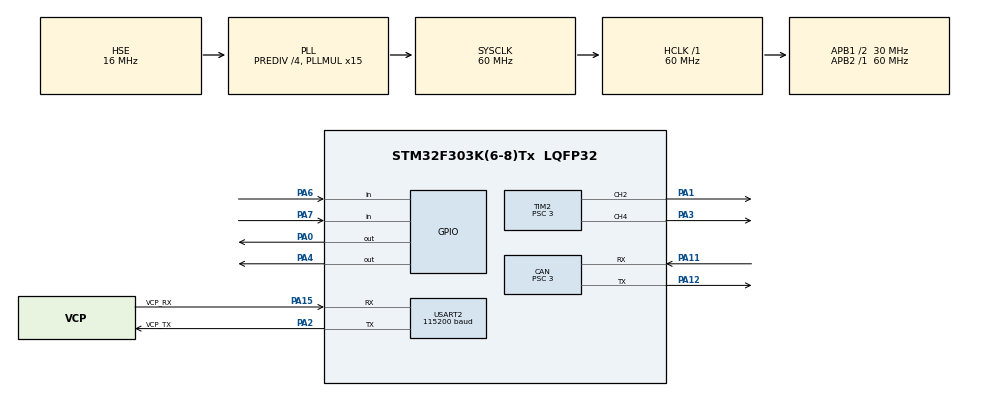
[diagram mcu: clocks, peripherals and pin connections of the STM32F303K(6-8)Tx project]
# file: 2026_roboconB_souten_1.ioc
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CAN.BS1=CAN_BS1_7TQ
CAN.BS2=CAN_BS2_2TQ
CAN.CalculateBaudRate=1000000
CAN.CalculateTimeBit=1000
CAN.CalculateTimeQuantum=100.0
CAN.Prescaler=3
Mcu.Family=STM32F3
Mcu.Name=STM32F303K(6-8)Tx
Mcu.Package=LQFP32
NVIC.CAN_RX0_IRQn=true\:0\:0\:false\:false\:true\:true\:true\:true
NVIC.PriorityGroup=NVIC_PRIORITYGROUP_4
PA0.Signal=GPIO_Output
PA1.Signal=S_TIM2_CH2
PA11.Mode=CAN_Activate
PA11.Signal=CAN_RX
PA12.Mode=CAN_Activate
PA12.Signal=CAN_TX
PA13.GPIO_Label=SWDIO
PA13.Mode=Serial_Wire
PA13.Signal=SYS_JTMS-SWDIO
PA14.GPIO_Label=SWCLK
PA14.Mode=Serial_Wire
PA14.Signal=SYS_JTCK-SWCLK
PA15.GPIO_Label=VCP_RX
PA15.Mode=Asynchronous
PA15.Signal=USART2_RX
PA2.GPIO_Label=VCP_TX
PA2.Mode=Asynchronous
PA2.Signal=USART2_TX
PA3.Signal=S_TIM2_CH4
PA4.Signal=GPIO_Output
PA6.GPIO_PuPd=GPIO_PULLUP
PA6.Signal=GPIO_Input
PA7.GPIO_PuPd=GPIO_PULLUP
PA7.Signal=GPIO_Input
PF0\ /\ OSC_IN.GPIO_Label=MCO
PF0\ /\ OSC_IN.Mode=HSE-External-Oscillator
PF0\ /\ OSC_IN.Signal=RCC_OSC_IN
PF1\ /\ OSC_OUT.Mode=HSE-External-Oscillator
PF1\ /\ OSC_OUT.Signal=RCC_OSC_OUT
ProjectManager.HeapSize=0x200
ProjectManager.StackSize=0x400
ProjectManager.TargetToolchain=Makefile
RCC.AHBFreq_Value=60000000
RCC.APB1CLKDivider=RCC_HCLK_DIV2
RCC.APB1Freq_Value=30000000
RCC.APB1TimFreq_Value=60000000
RCC.APB2Freq_Value=60000000
RCC.APB2TimFreq_Value=60000000
RCC.CortexFreq_Value=60000000
RCC.HCLKFreq_Value=60000000
RCC.HSE_VALUE=16000000
RCC.HSI_VALUE=8000000
RCC.PLLMUL=RCC_PLL_MUL15
RCC.PLLSourceVirtual=RCC_PLLSOURCE_HSE
RCC.RCC_PLLsource_Clock_Source_FROM_HSE=RCC_HSE_PREDIV_DIV4
RCC.SYSCLKFreq_VALUE=60000000
RCC.SYSCLKSourceVirtual=RCC_SYSCLKSOURCE_PLLCLK
SH.S_TIM2_CH2.0=TIM2_CH2,PWM Generation2 CH2
SH.S_TIM2_CH4.0=TIM2_CH4,PWM Generation4 CH4
TIM2.AutoReloadPreload=TIM_AUTORELOAD_PRELOAD_ENABLE
TIM2.Channel-PWM\ Generation2\ CH2=TIM_CHANNEL_2
TIM2.Channel-PWM\ Generation4\ CH4=TIM_CHANNEL_4
TIM2.Period=2999
TIM2.Prescaler=3
USART2.BaudRate=115200
USART2.VirtualMode-Asynchronous=VM_ASYNC
VP_TIM2_VS_ClockSourceINT.Mode=Internal
board=NUCLEO-F303K8

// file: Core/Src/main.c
/* USER CODE BEGIN Header */
/**
 ******************************************************************************
 * @file           : main.c
 * @brief          : Main program body
 ******************************************************************************
 * @attention
 *
 * Copyright (c) 2026 STMicroelectronics.
 * All rights reserved.
 *
 * This software is licensed under terms that can be found in the LICENSE file
 * in the root directory of this software component.
 * If no LICENSE file comes with this software, it is provided AS-IS.
 *
 ******************************************************************************
 */
/* USER CODE END Header */
#include "main.h"

/* USER CODE BEGIN Includes */
#include <stdio.h>
#include <stdlib.h>
#include <math.h>
#include <string.h>
/* USER CODE END Includes */

CAN_HandleTypeDef hcan;

TIM_HandleTypeDef htim2;

UART_HandleTypeDef huart2;

void SystemClock_Config(void);
static void MX_GPIO_Init(void);
static void MX_CAN_Init(void);
static void MX_USART2_UART_Init(void);
static void MX_TIM2_Init(void);

/* USER CODE BEGIN 0 */
typedef enum
{
  SOUTEN_IDLE,
  SOUTEN,
  HOMING,
  SOUTEN_READY
} SoutenState;

volatile SoutenState souten_state = SOUTEN_IDLE;

typedef struct
{
  uint8_t data[8];
} CanFrame;

volatile uint32_t id;
// volatile uint8_t use_data[8];
volatile uint8_t can_buf[8];
volatile uint8_t can_updated = 0;
void HAL_CAN_RxFifo0MsgPendingCallback(CAN_HandleTypeDef *hcan)
{
  CAN_RxHeaderTypeDef RxHeader; // 受信メッセージの情報が格納されるインスタンス
  uint8_t RxData[8];            // 受信したデータを一時保存する配列
  if (HAL_CAN_GetRxMessage(hcan, CAN_RX_FIFO0, &RxHeader, RxData) == HAL_OK)
  {
    id = RxHeader.StdId; // RxHeaderの中に入っているidを取り出す
    if (id == 0x107)
    {
      for (int i = 0; i <= 7; i++)
      {
        can_buf[i] = RxData[i];
      }
      can_updated = 1;
    }
  }
}

volatile uint8_t control_flag = 0;

int _write(int file, char *ptr, int len)
{
  HAL_UART_Transmit(&huart2, (uint8_t *)ptr, len, 10);
  return len;
}
/* USER CODE END 0 */

int main(void)
{

  /* USER CODE BEGIN 1 */
  setbuf(stdout, NULL);
  /* USER CODE END 1 */

  /* MCU Configuration--------------------------------------------------------*/

  /* Reset of all peripherals, Initializes the Flash interface and the Systick. */
  HAL_Init();

  /* Configure the system clock */
  SystemClock_Config();

  /* Initialize all configured peripherals */
  MX_GPIO_Init();
  MX_CAN_Init();
  MX_USART2_UART_Init();
  MX_TIM2_Init();
  /* USER CODE BEGIN 2 */
  // CANスタート
  HAL_CAN_Start(&hcan);
  // 割り込み有効
  HAL_CAN_ActivateNotification(&hcan, CAN_IT_RX_FIFO0_MSG_PENDING);

  HAL_TIM_PWM_Start(&htim2, TIM_CHANNEL_2);
  HAL_TIM_PWM_Start(&htim2, TIM_CHANNEL_4);

  uint32_t motor_start_time = 0;
  uint32_t switch_on = 0;
  uint8_t motor_running = 0;

  __HAL_TIM_SET_COMPARE(&htim2, TIM_CHANNEL_2, 0);
  __HAL_TIM_SET_COMPARE(&htim2, TIM_CHANNEL_4, 0);
  /* USER CODE END 2 */

  /* Infinite loop */
  while (1)
  {

    /* USER CODE BEGIN 3 */
    uint8_t local_buf[8];

    if (can_updated)
    {
      __disable_irq();
      memcpy(local_buf, (const void *)can_buf, 8);
      can_updated = 0;
      __enable_irq();

      if (local_buf[0] == 1)
      {
        // 装填開始
        souten_state = SOUTEN;
      }
      else if (local_buf[0] == 0)
      {
        // 停止命令（緊急停止を含む）
        souten_state = SOUTEN_IDLE;
      }
    }

    if (souten_state == SOUTEN)
    {
      // PA7：未押下ならSET、押下ならRESET
      if (HAL_GPIO_ReadPin(GPIOA, GPIO_PIN_7) == GPIO_PIN_SET)
      {
        HAL_GPIO_WritePin(GPIOA, GPIO_PIN_0, GPIO_PIN_SET);
        HAL_GPIO_WritePin(GPIOA, GPIO_PIN_4, GPIO_PIN_SET);
        __HAL_TIM_SET_COMPARE(&htim2, TIM_CHANNEL_2, 2000);
        __HAL_TIM_SET_COMPARE(&htim2, TIM_CHANNEL_4, 2000);
      }
      else
      {
        // リミットスイッチに到達したので停止
        __HAL_TIM_SET_COMPARE(&htim2, TIM_CHANNEL_2, 0);
        __HAL_TIM_SET_COMPARE(&htim2, TIM_CHANNEL_4, 0);
        souten_state = SOUTEN_READY;
      }
    }
    else
    {
      __HAL_TIM_SET_COMPARE(&htim2, TIM_CHANNEL_2, 0);
      __HAL_TIM_SET_COMPARE(&htim2, TIM_CHANNEL_4, 0);
    }
  }
  /* USER CODE END 3 */
}

void SystemClock_Config(void)
{
  RCC_OscInitTypeDef RCC_OscInitStruct = {0};
  RCC_ClkInitTypeDef RCC_ClkInitStruct = {0};

  /** Initializes the RCC Oscillators according to the specified parameters
  * in the RCC_OscInitTypeDef structure.
  */
  RCC_OscInitStruct.OscillatorType = RCC_OSCILLATORTYPE_HSE;
  RCC_OscInitStruct.HSEState = RCC_HSE_ON;
  RCC_OscInitStruct.HSEPredivValue = RCC_HSE_PREDIV_DIV4;
  RCC_OscInitStruct.HSIState = RCC_HSI_ON;
  RCC_OscInitStruct.PLL.PLLState = RCC_PLL_ON;
  RCC_OscInitStruct.PLL.PLLSource = RCC_PLLSOURCE_HSE;
  RCC_OscInitStruct.PLL.PLLMUL = RCC_PLL_MUL15;
  if (HAL_RCC_OscConfig(&RCC_OscInitStruct) != HAL_OK)
  {
    Error_Handler();
  }

  /** Initializes the CPU, AHB and APB buses clocks
  */
  RCC_ClkInitStruct.ClockType = RCC_CLOCKTYPE_HCLK|RCC_CLOCKTYPE_SYSCLK
                              |RCC_CLOCKTYPE_PCLK1|RCC_CLOCKTYPE_PCLK2;
  RCC_ClkInitStruct.SYSCLKSource = RCC_SYSCLKSOURCE_PLLCLK;
  RCC_ClkInitStruct.AHBCLKDivider = RCC_SYSCLK_DIV1;
  RCC_ClkInitStruct.APB1CLKDivider = RCC_HCLK_DIV2;
  RCC_ClkInitStruct.APB2CLKDivider = RCC_HCLK_DIV1;

  if (HAL_RCC_ClockConfig(&RCC_ClkInitStruct, FLASH_LATENCY_2) != HAL_OK)
  {
    Error_Handler();
  }
}

static void MX_CAN_Init(void)
{

  hcan.Instance = CAN;
  hcan.Init.Prescaler = 3;
  hcan.Init.Mode = CAN_MODE_NORMAL;
  hcan.Init.SyncJumpWidth = CAN_SJW_1TQ;
  hcan.Init.TimeSeg1 = CAN_BS1_7TQ;
  hcan.Init.TimeSeg2 = CAN_BS2_2TQ;
  hcan.Init.TimeTriggeredMode = DISABLE;
  hcan.Init.AutoBusOff = DISABLE;
  hcan.Init.AutoWakeUp = DISABLE;
  hcan.Init.AutoRetransmission = DISABLE;
  hcan.Init.ReceiveFifoLocked = DISABLE;
  hcan.Init.TransmitFifoPriority = DISABLE;
  if (HAL_CAN_Init(&hcan) != HAL_OK)
  {
    Error_Handler();
  }
  /* USER CODE BEGIN CAN_Init 2 */
  CAN_FilterTypeDef filter = {0};

  filter.FilterBank = 0;
  filter.FilterMode = CAN_FILTERMODE_IDMASK;
  filter.FilterScale = CAN_FILTERSCALE_32BIT;

  filter.FilterIdHigh = 0x0000;
  filter.FilterIdLow = 0x0000;

  filter.FilterMaskIdHigh = 0x0000;
  filter.FilterMaskIdLow = 0x0000;

  filter.FilterFIFOAssignment = CAN_FILTER_FIFO0;
  filter.FilterActivation = ENABLE;
  filter.SlaveStartFilterBank = 14;

  if (HAL_CAN_ConfigFilter(&hcan, &filter) != HAL_OK)
  {
    Error_Handler();
  }
  /* USER CODE END CAN_Init 2 */

}

static void MX_TIM2_Init(void)
{

  TIM_ClockConfigTypeDef sClockSourceConfig = {0};
  TIM_MasterConfigTypeDef sMasterConfig = {0};
  TIM_OC_InitTypeDef sConfigOC = {0};

  htim2.Instance = TIM2;
  htim2.Init.Prescaler = 3;
  htim2.Init.CounterMode = TIM_COUNTERMODE_UP;
  htim2.Init.Period = 2999;
  htim2.Init.ClockDivision = TIM_CLOCKDIVISION_DIV1;
  htim2.Init.AutoReloadPreload = TIM_AUTORELOAD_PRELOAD_ENABLE;
  if (HAL_TIM_Base_Init(&htim2) != HAL_OK)
  {
    Error_Handler();
  }
  sClockSourceConfig.ClockSource = TIM_CLOCKSOURCE_INTERNAL;
  if (HAL_TIM_ConfigClockSource(&htim2, &sClockSourceConfig) != HAL_OK)
  {
    Error_Handler();
  }
  if (HAL_TIM_PWM_Init(&htim2) != HAL_OK)
  {
    Error_Handler();
  }
  sMasterConfig.MasterOutputTrigger = TIM_TRGO_RESET;
  sMasterConfig.MasterSlaveMode = TIM_MASTERSLAVEMODE_DISABLE;
  if (HAL_TIMEx_MasterConfigSynchronization(&htim2, &sMasterConfig) != HAL_OK)
  {
    Error_Handler();
  }
  sConfigOC.OCMode = TIM_OCMODE_PWM1;
  sConfigOC.Pulse = 0;
  sConfigOC.OCPolarity = TIM_OCPOLARITY_HIGH;
  sConfigOC.OCFastMode = TIM_OCFAST_DISABLE;
  if (HAL_TIM_PWM_ConfigChannel(&htim2, &sConfigOC, TIM_CHANNEL_2) != HAL_OK)
  {
    Error_Handler();
  }
  if (HAL_TIM_PWM_ConfigChannel(&htim2, &sConfigOC, TIM_CHANNEL_4) != HAL_OK)
  {
    Error_Handler();
  }
  HAL_TIM_MspPostInit(&htim2);

}

static void MX_USART2_UART_Init(void)
{

  huart2.Instance = USART2;
  huart2.Init.BaudRate = 115200;
  huart2.Init.WordLength = UART_WORDLENGTH_8B;
  huart2.Init.StopBits = UART_STOPBITS_1;
  huart2.Init.Parity = UART_PARITY_NONE;
  huart2.Init.Mode = UART_MODE_TX_RX;
  huart2.Init.HwFlowCtl = UART_HWCONTROL_NONE;
  huart2.Init.OverSampling = UART_OVERSAMPLING_16;
  huart2.Init.OneBitSampling = UART_ONE_BIT_SAMPLE_DISABLE;
  huart2.AdvancedInit.AdvFeatureInit = UART_ADVFEATURE_NO_INIT;
  if (HAL_UART_Init(&huart2) != HAL_OK)
  {
    Error_Handler();
  }

}

static void MX_GPIO_Init(void)
{
  GPIO_InitTypeDef GPIO_InitStruct = {0};

  /* GPIO Ports Clock Enable */
  __HAL_RCC_GPIOF_CLK_ENABLE();
  __HAL_RCC_GPIOA_CLK_ENABLE();

  /*Configure GPIO pin Output Level */
  HAL_GPIO_WritePin(GPIOA, GPIO_PIN_0|GPIO_PIN_4, GPIO_PIN_RESET);

  /*Configure GPIO pins : PA0 PA4 */
  GPIO_InitStruct.Pin = GPIO_PIN_0|GPIO_PIN_4;
  GPIO_InitStruct.Mode = GPIO_MODE_OUTPUT_PP;
  GPIO_InitStruct.Pull = GPIO_NOPULL;
  GPIO_InitStruct.Speed = GPIO_SPEED_FREQ_LOW;
  HAL_GPIO_Init(GPIOA, &GPIO_InitStruct);

  /*Configure GPIO pins : PA6 PA7 */
  GPIO_InitStruct.Pin = GPIO_PIN_6|GPIO_PIN_7;
  GPIO_InitStruct.Mode = GPIO_MODE_INPUT;
  GPIO_InitStruct.Pull = GPIO_PULLUP;
  HAL_GPIO_Init(GPIOA, &GPIO_InitStruct);

}

void Error_Handler(void)
{
  __disable_irq();
  while (1)
  {
  }
}
